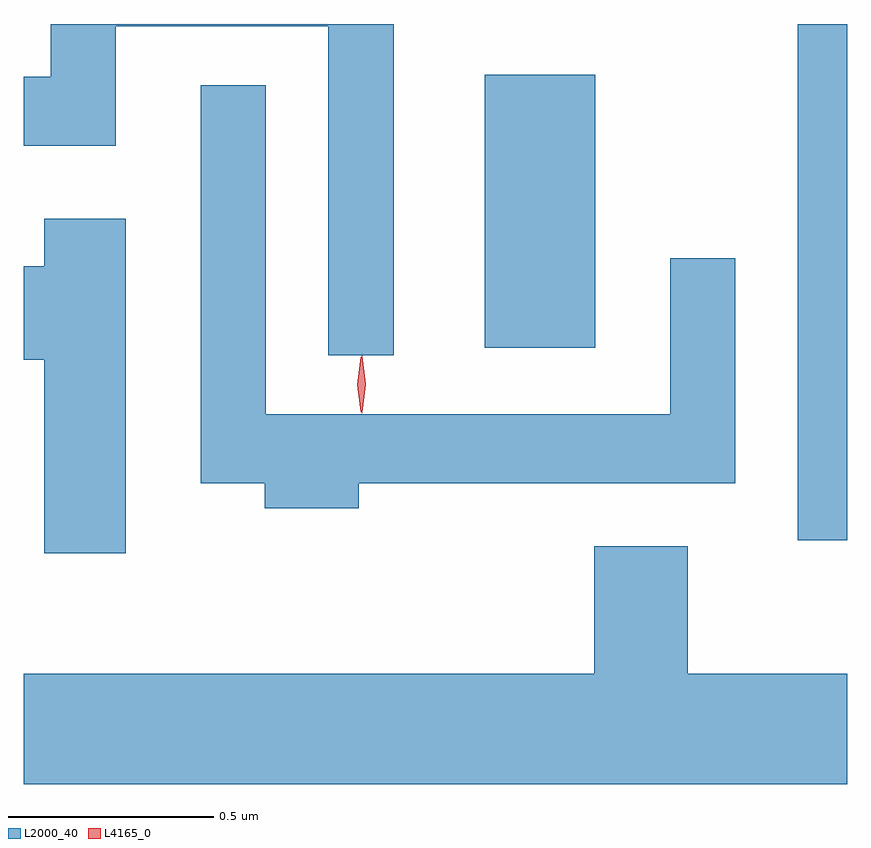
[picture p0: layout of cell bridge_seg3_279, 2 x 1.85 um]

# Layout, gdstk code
import gdstk
lib = gdstk.Library(unit=1e-6, precision=1e-09)
def R(c, l, rs):  # rectangles x0, y0, x1, y1
    for r in rs: c.add(gdstk.rectangle(r[:2], r[2:], *l))
def P(c, l, *ps):  # polygons
    for p in ps: c.add(gdstk.Polygon(p, *l))
L2000_40 = (2000, 40)
L4165_0 = (4165, 0)

bridge_seg3_279 = lib.new_cell('bridge_seg3_279')
R(bridge_seg3_279, L2000_40, [(1037.786,1135.488,1037.906,1136.742), (1037.026,1135.956,1037.294,1136.619)])
P(bridge_seg3_279, L2000_40, [(1036.804,1136.742),(1035.971,1136.742),(1035.971,1136.614),(1035.906,1136.614),(1035.906,1136.446),(1036.129,1136.446),(1036.129,1136.736),(1036.646,1136.736),(1036.646,1135.938),(1036.804,1135.938)],
  [(1036.719,1135.626),(1037.634,1135.626),(1037.634,1136.173),(1037.476,1136.173),(1037.476,1135.794),(1036.494,1135.794),(1036.494,1136.593),(1036.336,1136.593),(1036.336,1135.626),(1036.491,1135.626),(1036.491,1135.566),(1036.719,1135.566)],
  [(1036.154,1136.269),(1035.956,1136.269),(1035.956,1136.154),(1035.906,1136.154),(1035.906,1135.926),(1035.956,1135.926),(1035.956,1135.456),(1036.154,1135.456)],
  [(1037.906,1135.164),(1037.519,1135.164),(1037.519,1135.474),(1037.291,1135.474),(1037.291,1135.164),(1035.906,1135.164),(1035.906,1134.896),(1037.906,1134.896)])
P(bridge_seg3_279, L4165_0, [(1036.727,1135.797),(1036.727,1135.798),(1036.717,1135.867),(1036.727,1135.936),(1036.727,1135.936),(1036.728,1135.936),(1036.737,1135.867),(1036.728,1135.798)],
  [(1036.725,1135.8),(1036.716,1135.866),(1036.725,1135.932),(1036.725,1135.933),(1036.726,1135.932),(1036.735,1135.866),(1036.726,1135.8),(1036.726,1135.8)])

lib.write_gds('bridge_seg3_279.gds')
